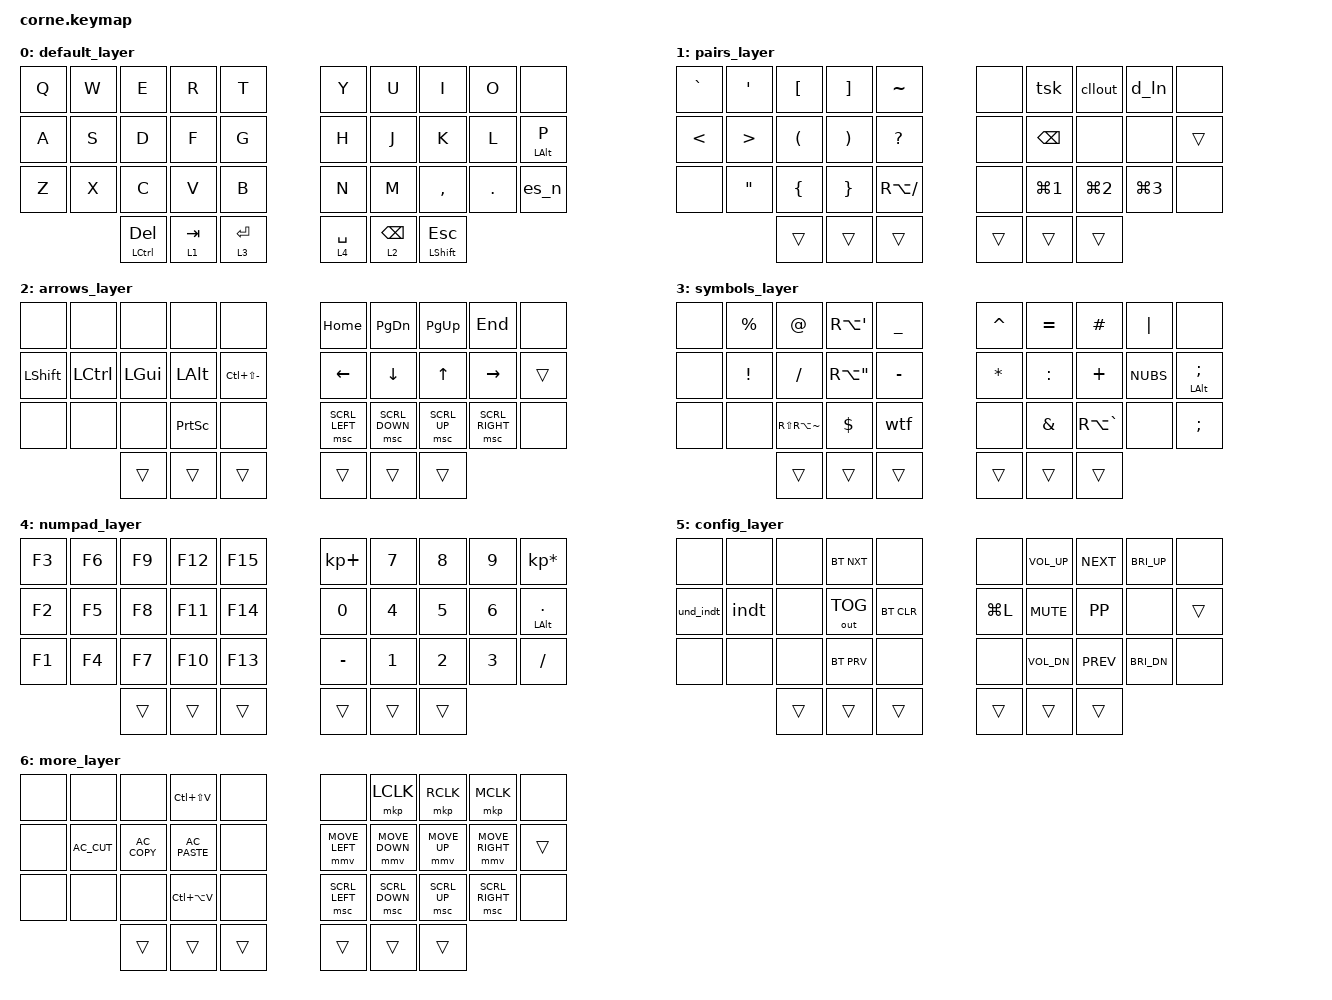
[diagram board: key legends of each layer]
/*
 * Copyright (c) 2020 The ZMK Contributors
 *
 * SPDX-License-Identifier: MIT
 */

#define ZMK_POINTING_DEFAULT_MOVE_VAL 600  // example: 1500
#define ZMK_POINTING_DEFAULT_SCRL_VAL 10    // example: 20

#include <behaviors.dtsi>
#include <dt-bindings/zmk/keys.h>
#include <dt-bindings/zmk/bt.h>
#include <dt-bindings/zmk/outputs.h>
#include <dt-bindings/zmk/pointing.h>

&mt {
    tapping-term-ms = <400>;
    flavor = "tap-preferred";
};
/ {
        chosen {
          zmk,matrix_transform = &five_column_transform;
        };

        conditional_layers {
            compatible = "zmk,conditional-layers";
            config_layer_5 {
                if-layers = <1 2>;
                then-layer = <5>;
            };
            config_layer_6 {
                if-layers = <3 4>;
                then-layer = <6>;
            };
        };
        macros {
          es_n: spanish_n {
                compatible = "zmk,behavior-macro";
                #binding-cells = <0>;
                bindings
                    = <&kp TILDE &kp N>
                ;
            };
          wtf: what_the_fuck_exclamation {
                compatible = "zmk,behavior-macro";
                #binding-cells = <0>;
                bindings
                    = <&kp EXCL &kp QMARK>
                ;
            };
          tsk: task {
                compatible = "zmk,behavior-macro";
                #binding-cells = <0>;
                bindings
                    = <&kp MINUS &kp SPC &kp LBKT &kp SPC &kp RBKT &kp SPC>
                ;
            };
          cllout: callout {
                compatible = "zmk,behavior-macro";
                #binding-cells = <0>;
                bindings
                    = <&kp GT &kp SPC &kp LBKT &kp EXCL &kp N &kp O &kp T &kp E &kp RBKT &kp SPC>
                ;
            };
          d_ln: double_underline {
                compatible = "zmk,behavior-macro";
                #binding-cells = <0>;
                bindings
                    = <&kp UNDER &kp UNDER &kp UNDER &kp UNDER>,
                      <&kp LEFT &kp LEFT>
                ;
            };
          und_indt: undo_indent {
                compatible = "zmk,behavior-macro";
                #binding-cells = <0>;
                bindings
                    = <&macro_press &kp LCTRL>,
                      <&macro_tap &kp LBKT>,
                      <&macro_release &kp LCTRL>
                ;
            };
          indt: indent {
                compatible = "zmk,behavior-macro";
                #binding-cells = <0>;
                bindings
                    = <&macro_press &kp LCTRL>,
                      <&macro_tap &kp RBKT>,
                      <&macro_release &kp LCTRL>
                ;
            };
        };
        keymap {
                compatible = "zmk,keymap";

                default_layer {
// -----------------------------------------------------------------------------------------
// |  Q  |  W  |  E  |  R  |  T  |xxx|  Y  |  U   |  I  |  O  | MOUSE |
// |  A  |  S  |  D  |  F  |  G  |xxx|  H  |  J   |  K  |  L  |  A[P] |
// |  Z  |  X  |  C  |  V  |  B  |xxx|  N  |  M   |  ,  |  .  |   ñ   |
//    | CTRL,DEL | 1,TAB | 3,ENT |xxx| 4,SPC | 2,BCKSPC | SHFT,ESC |
// -----------------------------------------------------------------------------------------
                        bindings = <
       &kp Q &kp W &kp E &kp R &kp T         &kp Y &kp U  &kp I     &kp O   &none
       &kp A &kp S &kp D &kp F &kp G         &kp H &kp J  &kp K     &kp L   &mt LALT P
       &kp Z &kp X &kp C &kp V &kp B         &kp N &kp M  &kp COMMA &kp DOT &es_n
       &mt LCTRL DEL &lt 1 TAB &lt 3 RET     &lt 4 SPC &lt 2 BSPC &mt LSHIFT ESC
                        >;
                };
                pairs_layer {
// -----------------------------------------------------------------------------------------
// |  `  |  ´  |  [   |  ]   |  ~  |xxx|     |  TASK  | CLLOUT |  D_  |     |
// |  <  |  >  |  (   |  )   |  ?  |xxx|     | BCKSPC |        |      |_____|
// |     |  "  |  {   |  }   |  ¿  |xxx|     |  G(1)  |  G(2)  | G(3) |     |
//              |______|$$$$$|_____|xxx|_____|________|______|
// -----------------------------------------------------------------------------------------
                        bindings = <
   &kp GRAVE  &kp SQT  &kp LBKT  &kp RBKT  &kp TILDE         &none  &tsk        &cllout     &d_ln       &none
   &kp LT     &kp GT   &kp LPAR  &kp RPAR  &kp QMARK         &none  &kp BSPC    &none       &none       &trans
   &none      &kp DQT  &kp LBRC  &kp RBRC  &kp RA(FSLH)      &none  &kp LG(N1)  &kp LG(N2)  &kp LG(N3)  &none
                           &trans  &trans  &trans            &trans  &trans  &trans
                        >;
                };
                arrows_layer {
// ----------------------------------------------------------------------------------------
// |      |      |     |         |         |xxx|  HOME   |  PGDWN  |   PGUP  |   END   |     |
// | SHFT | CTRL | GUI |   ALT   | C(S(-)) |xxx|  LEFT   |  DOWN   |    UP   |  RIGHT  |_____|
// |      |      |     | PrntScr |         |xxx| SCRLL_L | SCRLL_D | SCRLL_U | SCRLL_R |     |
//                      |______|_____|_____|xxx|______|$$$$$|_____|
// -----------------------------------------------------------------------------------------
                        bindings = <
   &none      &none      &none     &none      &none                  &kp HOME        &kp PG_DN       &kp PG_UP     &kp END          &none
   &kp LSHFT  &kp LCTRL  &kp LGUI  &kp LALT   &kp LC(LS(MINUS))      &kp LEFT        &kp DOWN        &kp UP        &kp RIGHT        &trans
   &none      &none      &none     &kp PSCRN  &none                  &msc SCRL_LEFT  &msc SCRL_DOWN  &msc SCRL_UP  &msc SCRL_RIGHT  &none
                           &trans  &trans     &trans                 &trans  &trans  &trans
                        >;
                };
                symbols_layer {
// -----------------------------------------------------------------------------------------
// |     |  %  |  @  |  '  |  _  |xxx|  ^  |  =  |  #  |  |  |      |
// |     |  !  |  /  |  "  |  -  |xxx|  *  |  :  |  +  |  \  | A[;] |
// |     |     |  ~  |  $  |     |xxx|     |  &  |  ´  |     |      |
//            |______|_____|$$$$$|xxx|_____|_____|_____|
// -----------------------------------------------------------------------------------------
                        bindings = <
   &none  &kp PRCNT  &kp AT             &kp RA(SQT)   &kp UNDER       &kp CARET  &kp EQUAL  &kp HASH       &kp PIPE  &none
   &none  &kp EXCL   &kp FSLH           &kp RA(DQT)   &kp MINUS       &kp ASTRK  &kp COLON  &kp PLUS       &kp NUBS  &mt LALT SEMI
   &none  &none      &kp RS(RA(TILDE))  &kp DLLR      &wtf           &none      &kp AMPS   &kp RA(GRAVE)  &none     &kp SEMI
                                      &trans  &trans  &trans          &trans  &trans  &trans
                        >;
                };
                numpad_layer {
// -----------------------------------------------------------------------------------------
// |  F3  |  F6  |  F9  |  F12 |  F15 |xxx|  +  |  7  |  8  |  9  |  *   |
// |  F2  |  F5  |  F8  |  F11 |  F14 |xxx|  0  |  4  |  5  |  6  | A[.] |
// |  F1  |  F4  |  F7  |  F10 |  F13 |xxx|  -  |  1  |  2  |  3  |  /   |
//                 |______|_____|_____|xxx|$$$$$|_____|_____|
// -----------------------------------------------------------------------------------------
                        bindings = <
   &kp F3  &kp F6  &kp F9  &kp F12  &kp F15           &kp KP_PLUS &kp N7  &kp N8  &kp N9  &kp KP_MULTIPLY
   &kp F2  &kp F5  &kp F8  &kp F11  &kp F14           &kp N0      &kp N4  &kp N5  &kp N6  &mt LALT DOT
   &kp F1  &kp F4  &kp F7  &kp F10  &kp F13           &kp MINUS   &kp N1  &kp N2  &kp N3  &kp FSLH
                    &trans  &trans  &trans            &trans  &trans  &trans
                        >;
                };
                config_layer {
// -----------------------------------------------------------------------------------------
// |        |      |    | BT_N   |       |xxx|      | VOL_U  | MED_N   | BRI_U  |   |
// | U-INDT | INDT |    | OUT_T  | CLEAR |xxx| LOCK | VOL_M  | MED_PP  |        |___|
// |        |      |    | BT_P   |       |xxx|      | VOL_D  | MED_P   | BRI_D  |   |
//                        |____|$$$$|____|xxx|____|$$$$|____|
// -----------------------------------------------------------------------------------------
                        bindings = <
   &none      &none  &none  &bt BT_NXT    &none             &none      &kp K_VOL_UP  &kp K_NEXT  &kp C_BRI_UP  &none
   &und_indt  &indt  &none  &out OUT_TOG  &bt BT_CLR        &kp LG(L)  &kp K_MUTE    &kp K_PP    &none         &trans
   &none      &none  &none  &bt BT_PRV    &none             &none      &kp K_VOL_DN  &kp K_PREV  &kp C_BRI_DN  &none
                      &trans  &trans  &trans            &trans  &trans  &trans
                        >;
                };
                more_layer {
// -----------------------------------------------------------------------------------------
// |    |     |      | SP_PASTE |     |xxx|         |  L_CLK  |  R_CLK  |  M_CLK  | MOUSE |
// |    | CUT | COPY |  PASTE   |     |xxx| MOVE_L  | MOVE_D  | MOVE_U  | MOVE_R  |_______|
// |    |     |      | SP_PASTE |     |xxx| SCRLL_L | SCRLL_D | SCRLL_U | SCRLL_R |       |
//                     |____|____|$$$$|xxx|$$$$|____|____|
// -----------------------------------------------------------------------------------------
                        bindings = <
   &none  &none         &none          &kp LC(LS(V))   &none         &none           &mkp LCLK       &mkp RCLK     &mkp MCLK        &none
   &none  &kp C_AC_CUT  &kp C_AC_COPY  &kp C_AC_PASTE  &none         &mmv MOVE_LEFT  &mmv MOVE_DOWN  &mmv MOVE_UP  &mmv MOVE_RIGHT  &trans
   &none  &none         &none          &kp LC(LA(V))   &none         &msc SCRL_LEFT  &msc SCRL_DOWN  &msc SCRL_UP  &msc SCRL_RIGHT  &none
                                       &trans  &trans  &trans        &trans  &trans  &trans
                        >;
                };
        };
};
